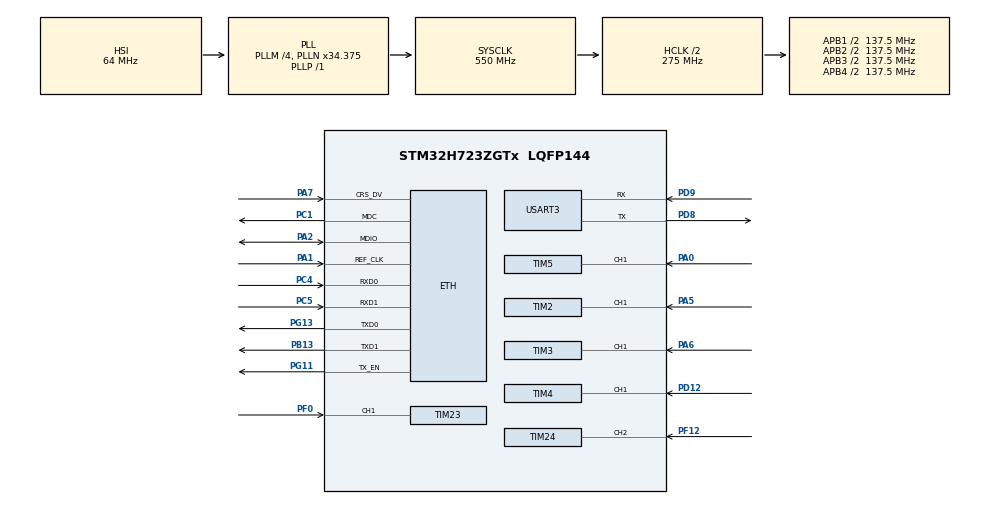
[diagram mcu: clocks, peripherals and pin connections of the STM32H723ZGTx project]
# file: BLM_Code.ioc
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CORTEX_M7.default_mode_Activation=1
ETH.MACAddr=00\:80\:E2\:00\:00\:00
ETH.MediaInterface=HAL_ETH_RMII_MODE
LWIP.BSP.number=1
LWIP.CHECKSUM_CHECK_ICMP=0
LWIP.CHECKSUM_GEN_ICMP=0
LWIP.ETH_RX_BUFFER_CNT=8
LWIP.GATEWAY_ADDRESS=192.168.007.001
LWIP.IP_ADDRESS=192.168.007.105
LWIP.LWIP_DHCP=1
LWIP.MEMP_NUM_PBUF=20
LWIP.MEMP_NUM_TCP_PCB_LISTEN=2
LWIP.MEM_SIZE=16000
LWIP.NETMASK_ADDRESS=255.255.255.000
LWIP.Version=v2.1.2_Cube
LWIP0.BSP.STBoard=false
LWIP0.BSP.api=BSP_COMPONENT_DRIVER
LWIP0.BSP.component=LAN8742
LWIP0.BSP.instance=LAN8742
LWIP0.BSP.name=Driver_PHY
LWIP0.BSP.semaphore=S_LAN8742
LWIP0.BSP.solution=LAN8742
Mcu.Family=STM32H7
Mcu.Name=STM32H723ZGTx
Mcu.Package=LQFP144
NVIC.ETH_IRQn=true\:0\:0\:false\:false\:true\:true\:true\:true
NVIC.ETH_WKUP_IRQn=true\:0\:0\:false\:false\:true\:true\:true\:true
NVIC.PriorityGroup=NVIC_PRIORITYGROUP_4
NVIC.TIM23_IRQn=true\:0\:0\:false\:false\:true\:true\:true\:true
NVIC.USART3_IRQn=true\:0\:0\:false\:false\:true\:true\:true\:true
PA0.Signal=S_TIM5_CH1
PA1.Mode=RMII
PA1.Signal=ETH_REF_CLK
PA13(JTMS/SWDIO).GPIO_Label=SWDIO
PA13(JTMS/SWDIO).Signal=DEBUG_JTMS-SWDIO
PA14(JTCK/SWCLK).GPIO_Label=SWCLK
PA14(JTCK/SWCLK).Signal=DEBUG_JTCK-SWCLK
PA2.Mode=RMII
PA2.Signal=ETH_MDIO
PA5.Signal=S_TIM2_CH1_ETR
PA6.Signal=S_TIM3_CH1
PA7.Mode=RMII
PA7.Signal=ETH_CRS_DV
PB13.Mode=RMII
PB13.Signal=ETH_TXD1
PG11.Mode=RMII
PG11.Signal=ETH_TX_EN
PG13.Mode=RMII
PG13.Signal=ETH_TXD0
PC1.Mode=RMII
PC1.Signal=ETH_MDC
PC14-OSC32_IN.Signal=RCC_OSC32_IN
PC15-OSC32_OUT.Signal=RCC_OSC32_OUT
PC4.Mode=RMII
PC4.Signal=ETH_RXD0
PC5.Mode=RMII
PC5.Signal=ETH_RXD1
PD12.Signal=S_TIM4_CH1
PD8.Mode=Asynchronous
PD8.Signal=USART3_TX
PD9.Mode=Asynchronous
PD9.Signal=USART3_RX
PF0.Mode=TriggerSource_TI1FP1
PF0.Signal=TIM23_CH1
PF11.Signal=TIM24_CH1
PF12.Signal=S_TIM24_CH2
ProjectManager.HeapSize=0x200
ProjectManager.StackSize=0x400
ProjectManager.TargetToolchain=STM32CubeIDE
RCC.ADCFreq_Value=608000000
RCC.APB1Freq_Value=137500000
RCC.APB2Freq_Value=137500000
RCC.APB3Freq_Value=137500000
RCC.APB4Freq_Value=137500000
RCC.CortexFreq_Value=550000000
RCC.D1PPRE=RCC_APB3_DIV2
RCC.D2PPRE1=RCC_APB1_DIV2
RCC.D2PPRE2=RCC_APB2_DIV2
RCC.D3PPRE=RCC_APB4_DIV2
RCC.DIVM1=4
RCC.DIVM2=1
RCC.DIVN1=34
RCC.DIVN2=19
RCC.DIVP1=1
RCC.DIVQ1=4
RCC.HCLKFreq_Value=275000000
RCC.HPRE=RCC_HCLK_DIV2
RCC.HSE_VALUE=8000000
RCC.PLLFRACN=3072
RCC.SYSCLKFreq_VALUE=550000000
RCC.SYSCLKSource=RCC_SYSCLKSOURCE_PLLCLK
RCC.USBCLockSelection=RCC_USBCLKSOURCE_HSI48
RCC.USBFreq_Value=48000000
RTC.Date=10
RTC.Format=RTC_FORMAT_BIN
RTC.Hours=18
RTC.Minutes=19
RTC.Month=RTC_MONTH_OCTOBER
RTC.WeekDay=RTC_WEEKDAY_FRIDAY
RTC.Year=25
SH.S_TIM24_CH2.0=TIM24_CH2,TriggerSource_TI2FP2
SH.S_TIM2_CH1_ETR.0=TIM2_CH1,TriggerSource_TI1FP1
SH.S_TIM3_CH1.0=TIM3_CH1,TriggerSource_TI1FP1
SH.S_TIM4_CH1.0=TIM4_CH1,TriggerSource_TI1FP1
SH.S_TIM5_CH1.0=TIM5_CH1,TriggerSource_TI1FP1
TIM12.AutoReloadPreload=TIM_AUTORELOAD_PRELOAD_ENABLE
TIM12.TIM_MasterOutputTrigger=TIM_TRGO_RESET
TIM23.AutoReloadPreload=TIM_AUTORELOAD_PRELOAD_ENABLE
TIM23.Period=4294967295
TIM23.TIM_MasterOutputTrigger=TIM_TRGO_UPDATE
TIM3.TIM_MasterOutputTrigger=TIM_TRGO_UPDATE
TIM4.TIM_MasterOutputTrigger=TIM_TRGO_UPDATE
USART3.VirtualMode-Asynchronous=VM_ASYNC
VP_LWIP_VS_Enabled.Mode=Enabled
VP_MEMORYMAP_VS_MEMORYMAP.Mode=CurAppReg
VP_RTC_VS_RTC_Activate.Mode=RTC_Enabled
VP_RTC_VS_RTC_Calendar.Mode=RTC_Calendar
VP_TIM12_VS_ClockSourceITR.Mode=TriggerSource_ITR0
VP_TIM12_VS_ControllerModeClock.Mode=Clock Mode
VP_TIM1_VS_ClockSourceITR.Mode=TriggerSource_ITR2
VP_TIM1_VS_ControllerModeClock.Mode=Clock Mode
VP_TIM23_VS_ControllerModeClock.Mode=Clock Mode
VP_TIM24_VS_ControllerModeClock.Mode=Clock Mode
VP_TIM2_VS_ControllerModeClock.Mode=Clock Mode
VP_TIM3_VS_ControllerModeClock.Mode=Clock Mode
VP_TIM4_VS_ControllerModeClock.Mode=Clock Mode
VP_TIM5_VS_ControllerModeClock.Mode=Clock Mode
board=NUCLEO-H723ZG

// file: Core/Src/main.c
/* USER CODE BEGIN Header */
/**
  ******************************************************************************
  * @file           : main.c
  * @brief          : Main program body
  ******************************************************************************
  * @attention
  *
  * Copyright (c) 2025 STMicroelectronics.
  * All rights reserved.
  *
  * This software is licensed under terms that can be found in the LICENSE file
  * in the root directory of this software component.
  * If no LICENSE file comes with this software, it is provided AS-IS.
  *
  ******************************************************************************
  */
/* USER CODE END Header */
#include "main.h"
#include "lwip.h"

/* USER CODE BEGIN Includes */
#include <string.h>
#include "blm_utils.h"
#include "tcp_utils.h"
#include "tcp_server_utils.h"
#include "tcp_client_utils.h"

/* USER CODE END Includes */

/* USER CODE BEGIN PD */
#define MESSAGE_LEN 100
// Telemetry rate before and after the start-up burst.
#define STARTUP_INTERVAL_MS 100
#define STARTUP_DURATION_MS 10000
/* USER CODE END PD */

RTC_HandleTypeDef hrtc;

TIM_HandleTypeDef htim1;
TIM_HandleTypeDef htim2;
TIM_HandleTypeDef htim3;
TIM_HandleTypeDef htim4;
TIM_HandleTypeDef htim5;
TIM_HandleTypeDef htim12;
TIM_HandleTypeDef htim23;
TIM_HandleTypeDef htim24;

UART_HandleTypeDef huart3;

/* USER CODE BEGIN PV */
// Organise inputs
Pulse_input channel1 = {
		.channel_number = 1,
		.master_timer = &htim23,
		.slave_timer = NULL
};

Pulse_input channel2 = {
		.channel_number = 2,
		.master_timer = &htim24,
		.slave_timer = NULL
};

Pulse_input channel3 = {
		.channel_number = 3,
		.master_timer = &htim4,
		.slave_timer = &htim12
};

Pulse_input channel4 = {
		.channel_number = 4,
		.master_timer = &htim5,
		.slave_timer = NULL
};

Pulse_input channel5 = {
		.channel_number = 5,
		.master_timer = &htim3,
		.slave_timer = &htim1
};

Pulse_input channel6 = {
		.channel_number = 6,
		.master_timer = &htim2,
		.slave_timer = NULL
};

uint32_t channel1_reading;
uint32_t channel2_reading;
uint32_t channel3_reading;
uint32_t channel4_reading;
uint32_t channel5_reading;
uint32_t channel6_reading;

char message[MESSAGE_LEN] = "";

// Server on 1972 for commands, client on 1973 for telemetry.
tcp_options tcpOpt = {0};

/* USER CODE END PV */

void SystemClock_Config(void);
static void MPU_Config(void);
static void MX_GPIO_Init(void);
static void MX_TIM2_Init(void);
static void MX_TIM3_Init(void);
static void MX_TIM4_Init(void);
static void MX_TIM5_Init(void);
static void MX_TIM23_Init(void);
static void MX_TIM24_Init(void);
static void MX_RTC_Init(void);
static void MX_TIM12_Init(void);
static void MX_TIM1_Init(void);
static void MX_USART3_UART_Init(void);

int main(void)
{

  /* MPU Configuration--------------------------------------------------------*/
  MPU_Config();

  /* USER CODE BEGIN MPU_Post */
  /* The D2 domain SRAMs are gated off after reset. The ETH descriptors, the Rx
     pbuf pool and the LwIP heap all live there, so they must be clocked before
     anything touches them. */
  __HAL_RCC_D2SRAM1_CLK_ENABLE();
  __HAL_RCC_D2SRAM2_CLK_ENABLE();

  /* Safe to enable now that D2 SRAM is mapped non-cacheable by the MPU above. */
  SCB_EnableICache();
  SCB_EnableDCache();
  /* USER CODE END MPU_Post */

  /* MCU Configuration--------------------------------------------------------*/

  /* Reset of all peripherals, Initializes the Flash interface and the Systick. */
  HAL_Init();

  /* Configure the system clock */
  SystemClock_Config();

  /* Initialize all configured peripherals */
  MX_GPIO_Init();
  MX_LWIP_Init();
  MX_TIM2_Init();
  MX_TIM3_Init();
  MX_TIM4_Init();
  MX_TIM5_Init();
  MX_TIM23_Init();
  MX_TIM24_Init();
  MX_RTC_Init();
  MX_TIM12_Init();
  MX_TIM1_Init();
  MX_USART3_UART_Init();
  /* USER CODE BEGIN 2 */
// RTC timer start

// Start timers
// Start slave timer first
  HAL_TIM_Base_Start(&htim1);
  HAL_TIM_Base_Start(&htim12);

// Start master timers
  HAL_TIM_Base_Start(&htim2);
  HAL_TIM_Base_Start(&htim3);
  HAL_TIM_Base_Start(&htim4);
  HAL_TIM_Base_Start(&htim5);
  HAL_TIM_Base_Start(&htim23);
  HAL_TIM_Base_Start(&htim24);

// The listener binds now; the outbound link dials when DHCP is done.
  tcpOpt.huart = &huart3;
  start_tcp_server(&tcpOpt);
  start_tcp_client(&tcpOpt);

  /* USER CODE END 2 */

  /* Infinite loop */
  /* USER CODE BEGIN WHILE */
  uint32_t ticks_pass = 0;
  uint32_t lwip_ticks = 0;
  uint32_t period_s = 1;          // settable at runtime by SET_PERIOD
  int32_t interval = STARTUP_INTERVAL_MS;

  while (1)
  {
	  uint32_t ticks = HAL_GetTick();

//	  Apply anything the control station has sent.
	  uint32_t command_word = 0;
	  if(tcp_server_take_command(&tcpOpt, &command_word)){
		  char reply[64];
		  if(BLM_HandleCommand(&hrtc, command_word, &period_s) == HAL_OK){
			  snprintf(reply, sizeof(reply), "Applied command %08lX (period %lus)\n",
					   (unsigned long)command_word, (unsigned long)period_s);
		  }
		  else{
			  snprintf(reply, sizeof(reply), "Rejected command %08lX\n",
					   (unsigned long)command_word);
		  }
		  tcp_uart_print(&huart3, reply);
	  }

	  if(ticks-ticks_pass>interval){

		  GenerateChannelCSV(&hrtc, &channel1, &channel2, &channel3, &channel4, &channel5, &channel6, message, MESSAGE_LEN);
//		  UART is the debug view; the network carries the real data.
		  HAL_UART_Transmit_IT(&huart3, (uint8_t*)message, strlen(message));
		  tcp_client_send(message, strlen(message), &tcpOpt);
		  ticks_pass = HAL_GetTick();

	  }

//	  Fast for the first few seconds, then the configured period.
	  if(ticks>STARTUP_DURATION_MS){
		  interval = (int32_t)(period_s * 1000U);
	  }
	  if(HAL_GetTick()-lwip_ticks > 1){
		  MX_LWIP_Process();
		  lwip_ticks = HAL_GetTick();
	  }

    /* USER CODE END WHILE */

  }
}

void SystemClock_Config(void)
{
  RCC_OscInitTypeDef RCC_OscInitStruct = {0};
  RCC_ClkInitTypeDef RCC_ClkInitStruct = {0};

  /** Supply configuration update enable
  */
  HAL_PWREx_ConfigSupply(PWR_LDO_SUPPLY);

  /** Configure the main internal regulator output voltage
  */
  __HAL_PWR_VOLTAGESCALING_CONFIG(PWR_REGULATOR_VOLTAGE_SCALE0);

  while(!__HAL_PWR_GET_FLAG(PWR_FLAG_VOSRDY)) {}

  /** Initializes the RCC Oscillators according to the specified parameters
  * in the RCC_OscInitTypeDef structure.
  */
  RCC_OscInitStruct.OscillatorType = RCC_OSCILLATORTYPE_HSI|RCC_OSCILLATORTYPE_LSI;
  RCC_OscInitStruct.HSIState = RCC_HSI_DIV1;
  RCC_OscInitStruct.HSICalibrationValue = 64;
  RCC_OscInitStruct.LSIState = RCC_LSI_ON;
  RCC_OscInitStruct.PLL.PLLState = RCC_PLL_ON;
  RCC_OscInitStruct.PLL.PLLSource = RCC_PLLSOURCE_HSI;
  RCC_OscInitStruct.PLL.PLLM = 4;
  RCC_OscInitStruct.PLL.PLLN = 34;
  RCC_OscInitStruct.PLL.PLLP = 1;
  RCC_OscInitStruct.PLL.PLLQ = 4;
  RCC_OscInitStruct.PLL.PLLR = 2;
  RCC_OscInitStruct.PLL.PLLRGE = RCC_PLL1VCIRANGE_3;
  RCC_OscInitStruct.PLL.PLLVCOSEL = RCC_PLL1VCOWIDE;
  RCC_OscInitStruct.PLL.PLLFRACN = 3072;
  if (HAL_RCC_OscConfig(&RCC_OscInitStruct) != HAL_OK)
  {
    Error_Handler();
  }

  /** Initializes the CPU, AHB and APB buses clocks
  */
  RCC_ClkInitStruct.ClockType = RCC_CLOCKTYPE_HCLK|RCC_CLOCKTYPE_SYSCLK
                              |RCC_CLOCKTYPE_PCLK1|RCC_CLOCKTYPE_PCLK2
                              |RCC_CLOCKTYPE_D3PCLK1|RCC_CLOCKTYPE_D1PCLK1;
  RCC_ClkInitStruct.SYSCLKSource = RCC_SYSCLKSOURCE_PLLCLK;
  RCC_ClkInitStruct.SYSCLKDivider = RCC_SYSCLK_DIV1;
  RCC_ClkInitStruct.AHBCLKDivider = RCC_HCLK_DIV2;
  RCC_ClkInitStruct.APB3CLKDivider = RCC_APB3_DIV2;
  RCC_ClkInitStruct.APB1CLKDivider = RCC_APB1_DIV2;
  RCC_ClkInitStruct.APB2CLKDivider = RCC_APB2_DIV2;
  RCC_ClkInitStruct.APB4CLKDivider = RCC_APB4_DIV2;

  if (HAL_RCC_ClockConfig(&RCC_ClkInitStruct, FLASH_LATENCY_3) != HAL_OK)
  {
    Error_Handler();
  }
}

static void MX_RTC_Init(void)
{

  RTC_TimeTypeDef sTime = {0};
  RTC_DateTypeDef sDate = {0};

  /** Initialize RTC Only
  */
  hrtc.Instance = RTC;
  hrtc.Init.HourFormat = RTC_HOURFORMAT_24;
  hrtc.Init.AsynchPrediv = 127;
  hrtc.Init.SynchPrediv = 255;
  hrtc.Init.OutPut = RTC_OUTPUT_DISABLE;
  hrtc.Init.OutPutPolarity = RTC_OUTPUT_POLARITY_HIGH;
  hrtc.Init.OutPutType = RTC_OUTPUT_TYPE_OPENDRAIN;
  hrtc.Init.OutPutRemap = RTC_OUTPUT_REMAP_NONE;
  if (HAL_RTC_Init(&hrtc) != HAL_OK)
  {
    Error_Handler();
  }

  /** Initialize RTC and set the Time and Date
  */
  sTime.Hours = 18;
  sTime.Minutes = 19;
  sTime.Seconds = 0;
  sTime.DayLightSaving = RTC_DAYLIGHTSAVING_NONE;
  sTime.StoreOperation = RTC_STOREOPERATION_RESET;
  if (HAL_RTC_SetTime(&hrtc, &sTime, RTC_FORMAT_BIN) != HAL_OK)
  {
    Error_Handler();
  }
  sDate.WeekDay = RTC_WEEKDAY_FRIDAY;
  sDate.Month = RTC_MONTH_OCTOBER;
  sDate.Date = 10;
  sDate.Year = 25;

  if (HAL_RTC_SetDate(&hrtc, &sDate, RTC_FORMAT_BIN) != HAL_OK)
  {
    Error_Handler();
  }

}

static void MX_TIM1_Init(void)
{

  TIM_SlaveConfigTypeDef sSlaveConfig = {0};
  TIM_MasterConfigTypeDef sMasterConfig = {0};

  htim1.Instance = TIM1;
  htim1.Init.Prescaler = 0;
  htim1.Init.CounterMode = TIM_COUNTERMODE_UP;
  htim1.Init.Period = 65535;
  htim1.Init.ClockDivision = TIM_CLOCKDIVISION_DIV1;
  htim1.Init.RepetitionCounter = 0;
  htim1.Init.AutoReloadPreload = TIM_AUTORELOAD_PRELOAD_DISABLE;
  if (HAL_TIM_Base_Init(&htim1) != HAL_OK)
  {
    Error_Handler();
  }
  sSlaveConfig.SlaveMode = TIM_SLAVEMODE_EXTERNAL1;
  sSlaveConfig.InputTrigger = TIM_TS_ITR2;
  if (HAL_TIM_SlaveConfigSynchro(&htim1, &sSlaveConfig) != HAL_OK)
  {
    Error_Handler();
  }
  sMasterConfig.MasterOutputTrigger = TIM_TRGO_RESET;
  sMasterConfig.MasterOutputTrigger2 = TIM_TRGO2_RESET;
  sMasterConfig.MasterSlaveMode = TIM_MASTERSLAVEMODE_DISABLE;
  if (HAL_TIMEx_MasterConfigSynchronization(&htim1, &sMasterConfig) != HAL_OK)
  {
    Error_Handler();
  }

}

static void MX_TIM2_Init(void)
{

  TIM_SlaveConfigTypeDef sSlaveConfig = {0};
  TIM_MasterConfigTypeDef sMasterConfig = {0};

  htim2.Instance = TIM2;
  htim2.Init.Prescaler = 0;
  htim2.Init.CounterMode = TIM_COUNTERMODE_UP;
  htim2.Init.Period = 4294967295;
  htim2.Init.ClockDivision = TIM_CLOCKDIVISION_DIV1;
  htim2.Init.AutoReloadPreload = TIM_AUTORELOAD_PRELOAD_DISABLE;
  if (HAL_TIM_Base_Init(&htim2) != HAL_OK)
  {
    Error_Handler();
  }
  sSlaveConfig.SlaveMode = TIM_SLAVEMODE_EXTERNAL1;
  sSlaveConfig.InputTrigger = TIM_TS_TI1FP1;
  sSlaveConfig.TriggerPolarity = TIM_TRIGGERPOLARITY_RISING;
  sSlaveConfig.TriggerFilter = 0;
  if (HAL_TIM_SlaveConfigSynchro(&htim2, &sSlaveConfig) != HAL_OK)
  {
    Error_Handler();
  }
  sMasterConfig.MasterOutputTrigger = TIM_TRGO_RESET;
  sMasterConfig.MasterSlaveMode = TIM_MASTERSLAVEMODE_DISABLE;
  if (HAL_TIMEx_MasterConfigSynchronization(&htim2, &sMasterConfig) != HAL_OK)
  {
    Error_Handler();
  }

}

static void MX_TIM3_Init(void)
{

  TIM_SlaveConfigTypeDef sSlaveConfig = {0};
  TIM_MasterConfigTypeDef sMasterConfig = {0};

  htim3.Instance = TIM3;
  htim3.Init.Prescaler = 0;
  htim3.Init.CounterMode = TIM_COUNTERMODE_UP;
  htim3.Init.Period = 65535;
  htim3.Init.ClockDivision = TIM_CLOCKDIVISION_DIV1;
  htim3.Init.AutoReloadPreload = TIM_AUTORELOAD_PRELOAD_DISABLE;
  if (HAL_TIM_Base_Init(&htim3) != HAL_OK)
  {
    Error_Handler();
  }
  sSlaveConfig.SlaveMode = TIM_SLAVEMODE_EXTERNAL1;
  sSlaveConfig.InputTrigger = TIM_TS_TI1FP1;
  sSlaveConfig.TriggerPolarity = TIM_TRIGGERPOLARITY_RISING;
  sSlaveConfig.TriggerFilter = 0;
  if (HAL_TIM_SlaveConfigSynchro(&htim3, &sSlaveConfig) != HAL_OK)
  {
    Error_Handler();
  }
  sMasterConfig.MasterOutputTrigger = TIM_TRGO_UPDATE;
  sMasterConfig.MasterSlaveMode = TIM_MASTERSLAVEMODE_DISABLE;
  if (HAL_TIMEx_MasterConfigSynchronization(&htim3, &sMasterConfig) != HAL_OK)
  {
    Error_Handler();
  }

}

static void MX_TIM4_Init(void)
{

  TIM_SlaveConfigTypeDef sSlaveConfig = {0};
  TIM_MasterConfigTypeDef sMasterConfig = {0};

  htim4.Instance = TIM4;
  htim4.Init.Prescaler = 0;
  htim4.Init.CounterMode = TIM_COUNTERMODE_UP;
  htim4.Init.Period = 65535;
  htim4.Init.ClockDivision = TIM_CLOCKDIVISION_DIV1;
  htim4.Init.AutoReloadPreload = TIM_AUTORELOAD_PRELOAD_DISABLE;
  if (HAL_TIM_Base_Init(&htim4) != HAL_OK)
  {
    Error_Handler();
  }
  sSlaveConfig.SlaveMode = TIM_SLAVEMODE_EXTERNAL1;
  sSlaveConfig.InputTrigger = TIM_TS_TI1FP1;
  sSlaveConfig.TriggerPolarity = TIM_TRIGGERPOLARITY_RISING;
  sSlaveConfig.TriggerFilter = 0;
  if (HAL_TIM_SlaveConfigSynchro(&htim4, &sSlaveConfig) != HAL_OK)
  {
    Error_Handler();
  }
  sMasterConfig.MasterOutputTrigger = TIM_TRGO_UPDATE;
  sMasterConfig.MasterSlaveMode = TIM_MASTERSLAVEMODE_DISABLE;
  if (HAL_TIMEx_MasterConfigSynchronization(&htim4, &sMasterConfig) != HAL_OK)
  {
    Error_Handler();
  }

}

static void MX_TIM5_Init(void)
{

  TIM_SlaveConfigTypeDef sSlaveConfig = {0};
  TIM_MasterConfigTypeDef sMasterConfig = {0};

  htim5.Instance = TIM5;
  htim5.Init.Prescaler = 0;
  htim5.Init.CounterMode = TIM_COUNTERMODE_UP;
  htim5.Init.Period = 4294967295;
  htim5.Init.ClockDivision = TIM_CLOCKDIVISION_DIV1;
  htim5.Init.AutoReloadPreload = TIM_AUTORELOAD_PRELOAD_DISABLE;
  if (HAL_TIM_Base_Init(&htim5) != HAL_OK)
  {
    Error_Handler();
  }
  sSlaveConfig.SlaveMode = TIM_SLAVEMODE_EXTERNAL1;
  sSlaveConfig.InputTrigger = TIM_TS_TI1FP1;
  sSlaveConfig.TriggerPolarity = TIM_TRIGGERPOLARITY_RISING;
  sSlaveConfig.TriggerFilter = 0;
  if (HAL_TIM_SlaveConfigSynchro(&htim5, &sSlaveConfig) != HAL_OK)
  {
    Error_Handler();
  }
  sMasterConfig.MasterOutputTrigger = TIM_TRGO_RESET;
  sMasterConfig.MasterSlaveMode = TIM_MASTERSLAVEMODE_DISABLE;
  if (HAL_TIMEx_MasterConfigSynchronization(&htim5, &sMasterConfig) != HAL_OK)
  {
    Error_Handler();
  }

}

static void MX_TIM12_Init(void)
{

  TIM_SlaveConfigTypeDef sSlaveConfig = {0};
  TIM_MasterConfigTypeDef sMasterConfig = {0};

  htim12.Instance = TIM12;
  htim12.Init.Prescaler = 0;
  htim12.Init.CounterMode = TIM_COUNTERMODE_UP;
  htim12.Init.Period = 65535;
  htim12.Init.ClockDivision = TIM_CLOCKDIVISION_DIV1;
  htim12.Init.AutoReloadPreload = TIM_AUTORELOAD_PRELOAD_ENABLE;
  if (HAL_TIM_Base_Init(&htim12) != HAL_OK)
  {
    Error_Handler();
  }
  sSlaveConfig.SlaveMode = TIM_SLAVEMODE_EXTERNAL1;
  sSlaveConfig.InputTrigger = TIM_TS_ITR0;
  if (HAL_TIM_SlaveConfigSynchro(&htim12, &sSlaveConfig) != HAL_OK)
  {
    Error_Handler();
  }
  sMasterConfig.MasterOutputTrigger = TIM_TRGO_RESET;
  sMasterConfig.MasterSlaveMode = TIM_MASTERSLAVEMODE_DISABLE;
  if (HAL_TIMEx_MasterConfigSynchronization(&htim12, &sMasterConfig) != HAL_OK)
  {
    Error_Handler();
  }

}

static void MX_TIM23_Init(void)
{

  TIM_SlaveConfigTypeDef sSlaveConfig = {0};
  TIM_MasterConfigTypeDef sMasterConfig = {0};

  htim23.Instance = TIM23;
  htim23.Init.Prescaler = 0;
  htim23.Init.CounterMode = TIM_COUNTERMODE_UP;
  htim23.Init.Period = 4294967295;
  htim23.Init.ClockDivision = TIM_CLOCKDIVISION_DIV1;
  htim23.Init.AutoReloadPreload = TIM_AUTORELOAD_PRELOAD_ENABLE;
  if (HAL_TIM_Base_Init(&htim23) != HAL_OK)
  {
    Error_Handler();
  }
  sSlaveConfig.SlaveMode = TIM_SLAVEMODE_EXTERNAL1;
  sSlaveConfig.InputTrigger = TIM_TS_TI1FP1;
  sSlaveConfig.TriggerPolarity = TIM_TRIGGERPOLARITY_RISING;
  sSlaveConfig.TriggerFilter = 0;
  if (HAL_TIM_SlaveConfigSynchro(&htim23, &sSlaveConfig) != HAL_OK)
  {
    Error_Handler();
  }
  sMasterConfig.MasterOutputTrigger = TIM_TRGO_UPDATE;
  sMasterConfig.MasterSlaveMode = TIM_MASTERSLAVEMODE_DISABLE;
  if (HAL_TIMEx_MasterConfigSynchronization(&htim23, &sMasterConfig) != HAL_OK)
  {
    Error_Handler();
  }

}

static void MX_TIM24_Init(void)
{

  TIM_SlaveConfigTypeDef sSlaveConfig = {0};
  TIM_MasterConfigTypeDef sMasterConfig = {0};

  htim24.Instance = TIM24;
  htim24.Init.Prescaler = 0;
  htim24.Init.CounterMode = TIM_COUNTERMODE_UP;
  htim24.Init.Period = 4294967295;
  htim24.Init.ClockDivision = TIM_CLOCKDIVISION_DIV1;
  htim24.Init.AutoReloadPreload = TIM_AUTORELOAD_PRELOAD_DISABLE;
  if (HAL_TIM_Base_Init(&htim24) != HAL_OK)
  {
    Error_Handler();
  }
  sSlaveConfig.SlaveMode = TIM_SLAVEMODE_EXTERNAL1;
  sSlaveConfig.InputTrigger = TIM_TS_TI2FP2;
  sSlaveConfig.TriggerPolarity = TIM_TRIGGERPOLARITY_RISING;
  sSlaveConfig.TriggerFilter = 0;
  if (HAL_TIM_SlaveConfigSynchro(&htim24, &sSlaveConfig) != HAL_OK)
  {
    Error_Handler();
  }
  sMasterConfig.MasterOutputTrigger = TIM_TRGO_RESET;
  sMasterConfig.MasterSlaveMode = TIM_MASTERSLAVEMODE_DISABLE;
  if (HAL_TIMEx_MasterConfigSynchronization(&htim24, &sMasterConfig) != HAL_OK)
  {
    Error_Handler();
  }

}

static void MX_USART3_UART_Init(void)
{

  huart3.Instance = USART3;
  huart3.Init.BaudRate = 115200;
  huart3.Init.WordLength = UART_WORDLENGTH_8B;
  huart3.Init.StopBits = UART_STOPBITS_1;
  huart3.Init.Parity = UART_PARITY_NONE;
  huart3.Init.Mode = UART_MODE_TX_RX;
  huart3.Init.HwFlowCtl = UART_HWCONTROL_NONE;
  huart3.Init.OverSampling = UART_OVERSAMPLING_16;
  huart3.Init.OneBitSampling = UART_ONE_BIT_SAMPLE_DISABLE;
  huart3.Init.ClockPrescaler = UART_PRESCALER_DIV1;
  huart3.AdvancedInit.AdvFeatureInit = UART_ADVFEATURE_NO_INIT;
  if (HAL_UART_Init(&huart3) != HAL_OK)
  {
    Error_Handler();
  }
  if (HAL_UARTEx_SetTxFifoThreshold(&huart3, UART_TXFIFO_THRESHOLD_1_8) != HAL_OK)
  {
    Error_Handler();
  }
  if (HAL_UARTEx_SetRxFifoThreshold(&huart3, UART_RXFIFO_THRESHOLD_1_8) != HAL_OK)
  {
    Error_Handler();
  }
  if (HAL_UARTEx_DisableFifoMode(&huart3) != HAL_OK)
  {
    Error_Handler();
  }

}

static void MX_GPIO_Init(void)
{

  /* GPIO Ports Clock Enable */
  __HAL_RCC_GPIOC_CLK_ENABLE();
  __HAL_RCC_GPIOF_CLK_ENABLE();
  __HAL_RCC_GPIOA_CLK_ENABLE();
  __HAL_RCC_GPIOB_CLK_ENABLE();
  __HAL_RCC_GPIOD_CLK_ENABLE();

}

 /* MPU Configuration */

void MPU_Config(void)
{
  MPU_Region_InitTypeDef MPU_InitStruct = {0};

  /* Disables the MPU */
  HAL_MPU_Disable();

  /** Initializes and configures the Region and the memory to be protected
  */
  MPU_InitStruct.Enable = MPU_REGION_ENABLE;
  MPU_InitStruct.Number = MPU_REGION_NUMBER0;
  MPU_InitStruct.BaseAddress = 0x0;
  MPU_InitStruct.Size = MPU_REGION_SIZE_4GB;
  MPU_InitStruct.SubRegionDisable = 0x87;
  MPU_InitStruct.TypeExtField = MPU_TEX_LEVEL0;
  MPU_InitStruct.AccessPermission = MPU_REGION_NO_ACCESS;
  MPU_InitStruct.DisableExec = MPU_INSTRUCTION_ACCESS_DISABLE;
  MPU_InitStruct.IsShareable = MPU_ACCESS_SHAREABLE;
  MPU_InitStruct.IsCacheable = MPU_ACCESS_NOT_CACHEABLE;
  MPU_InitStruct.IsBufferable = MPU_ACCESS_NOT_BUFFERABLE;

  HAL_MPU_ConfigRegion(&MPU_InitStruct);

  /** Region 1: D2 SRAM (0x30000000, 32K) holding the ETH DMA descriptors, the
    * zero-copy Rx pbuf pool and the LwIP heap. Marked Normal / non-cacheable so
    * the CPU and the ETH DMA always see the same data once the D-Cache is on.
    */
  MPU_InitStruct.Enable = MPU_REGION_ENABLE;
  MPU_InitStruct.Number = MPU_REGION_NUMBER1;
  MPU_InitStruct.BaseAddress = 0x30000000;
  MPU_InitStruct.Size = MPU_REGION_SIZE_32KB;
  MPU_InitStruct.SubRegionDisable = 0x0;
  MPU_InitStruct.TypeExtField = MPU_TEX_LEVEL1;
  MPU_InitStruct.AccessPermission = MPU_REGION_FULL_ACCESS;
  MPU_InitStruct.DisableExec = MPU_INSTRUCTION_ACCESS_DISABLE;
  MPU_InitStruct.IsShareable = MPU_ACCESS_NOT_SHAREABLE;
  MPU_InitStruct.IsCacheable = MPU_ACCESS_NOT_CACHEABLE;
  MPU_InitStruct.IsBufferable = MPU_ACCESS_NOT_BUFFERABLE;

  HAL_MPU_ConfigRegion(&MPU_InitStruct);

  /* Enables the MPU */
  HAL_MPU_Enable(MPU_PRIVILEGED_DEFAULT);

}

void Error_Handler(void)
{
  __disable_irq();
  while (1)
  {
  }
}
